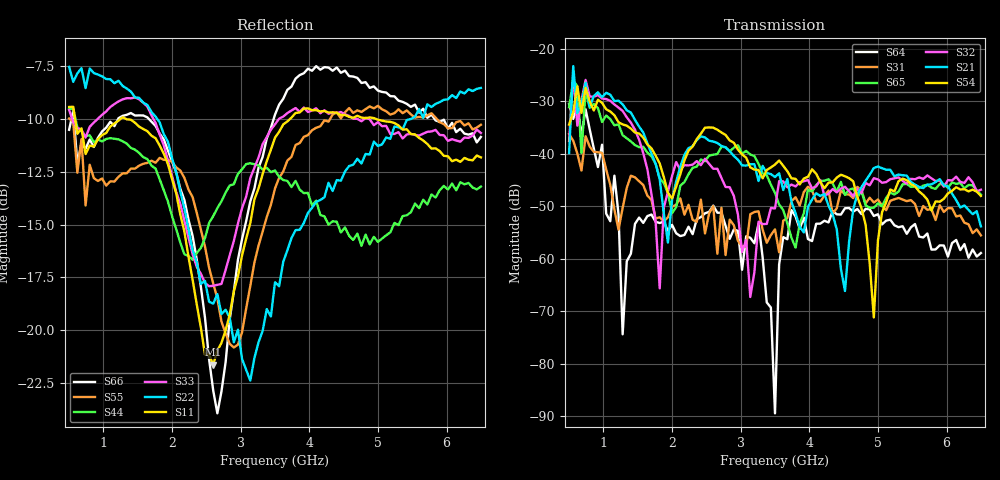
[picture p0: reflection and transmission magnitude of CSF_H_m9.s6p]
!Keysight Technologies,M9804A,MY58100912,A.14.10.03
!Date: Thursday, April 27, 2023 10:28:33
!Correction: S11(C  6-Port  )
!S12(C  6-Port  )
!S13(C  6-Port  )
!S14(C  6-Port  )
!S15(C  6-Port  )
!S16(C  6-Port  )
!S21(C  6-Port  )
!S22(C  6-Port  )
!S23(C  6-Port  )
!S24(C  6-Port  )
!S25(C  6-Port  )
!S26(C  6-Port  )
!S31(C  6-Port  )
!S32(C  6-Port  )
!S33(C  6-Port  )
!S34(C  6-Port  )
!S35(C  6-Port  )
!S36(C  6-Port  )
!S41(C  6-Port  )
!S42(C  6-Port  )
!S43(C  6-Port  )
!S44(C  6-Port  )
!S45(C  6-Port  )
!S46(C  6-Port  )
!S51(C  6-Port  )
!S52(C  6-Port  )
!S53(C  6-Port  )
!S54(C  6-Port  )
!S55(C  6-Port  )
!S56(C  6-Port  )
!S61(C  6-Port  )
!S62(C  6-Port  )
!S63(C  6-Port  )
!S64(C  6-Port  )
!S65(C  6-Port  )
!S66(C  6-Port  )
!S6P File: Measurement: :
# Hz S  RI  R 50
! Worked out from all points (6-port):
!   101 points, 500 MHz to 6.5 GHz, reference 50 ohm
!   strongest paths, dB at 500 MHz, 2 GHz, 3.5 GHz, 5 GHz, 6.5 GHz:
!     S54: -34.4, -48.5, -42.0, -56.5, -48.0
!     S21: -39.8, -48.8, -44.4, -42.4, -53.8
!     S32: -37.5, -44.2, -50.4, -44.9, -46.9
!     S65: -31.1, -51.3, -47.4, -49.4, -47.8
!     S31: -36.2, -50.1, -54.4, -48.7, -55.6
!     S64: -30.5, -53.6, -89.5, -51.5, -58.9
!   lowest |S11| = -21.6 dB at 2.6 GHz (marker M1), VSWR 1.18, Z = 42.6 + j2.04 ohm
!   |S11| at or under -10 dB: 587.3 MHz to 1.247 GHz (659.3 MHz wide, 71.9 % of centre); 1.333 GHz to 3.716 GHz (2.383 GHz wide, 94.4 % of centre); 4.976 GHz to end of sweep
